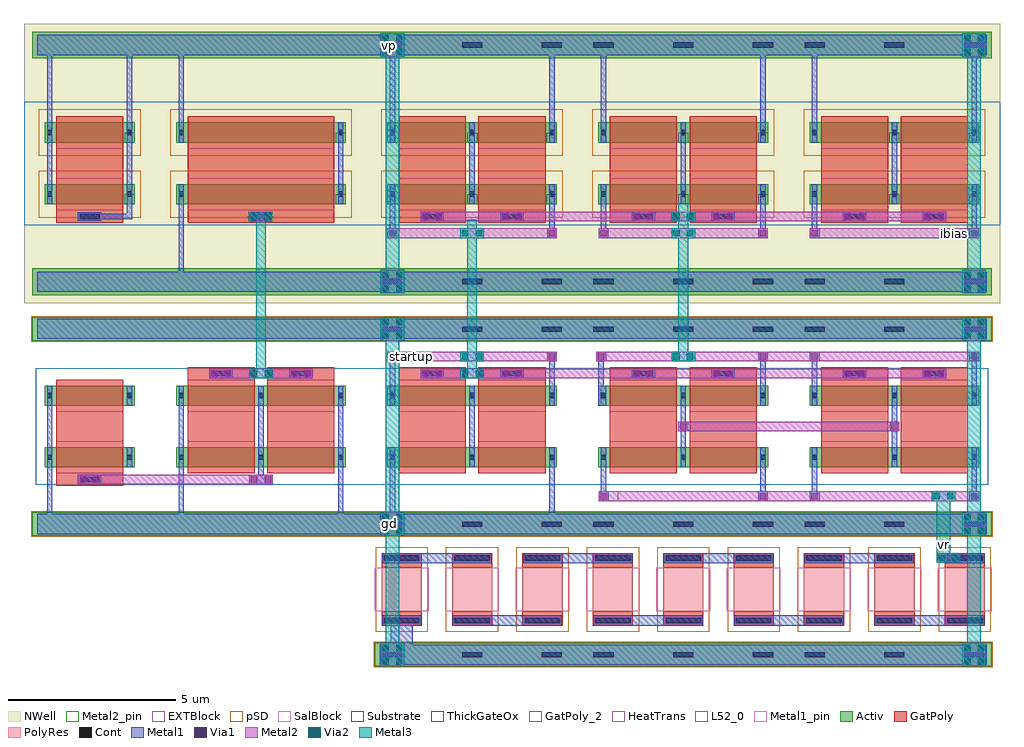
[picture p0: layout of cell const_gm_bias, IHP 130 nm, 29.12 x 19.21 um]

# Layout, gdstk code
import gdstk
lib = gdstk.Library(unit=1e-6, precision=1e-09)
def R(c, l, rs):  # rectangles x0, y0, x1, y1
    for r in rs: c.add(gdstk.rectangle(r[:2], r[2:], *l))
def A(c, l, x, y, w, h, nx, ny, dx, dy):  # array of equal rectangles
    R(c, l, [(x+i*dx, y+j*dy, x+i*dx+w, y+j*dy+h) for i in range(nx) for j in range(ny)])
Activ = (1, 0)
GatPoly = (5, 0)
GatPoly_2 = (5, 2)
Cont = (6, 0)
Metal1 = (8, 0)
Metal1_pin = (8, 2)
Metal2 = (10, 0)
Metal2_pin = (10, 2)
pSD = (14, 0)
Via1 = (19, 0)
SalBlock = (28, 0)
Via2 = (29, 0)
Metal3 = (30, 0)
NWell = (31, 0)
Substrate = (40, 0)
ThickGateOx = (44, 0)
HeatTrans = (51, 0)
L52_0 = (52, 0)
EXTBlock = (111, 0)
PolyRes = (128, 0)

nmoshv_6 = lib.new_cell('nmosHV$6')
R(nmoshv_6, Activ, [(0,0,0.3,0.3), (0,0,2.68,0.6), (2.38,0,2.68,0.3)])
R(nmoshv_6, GatPoly, [(0.34,-0.18,2.34,0.78)])
R(nmoshv_6, GatPoly_2, [(0.34,-0.18,2.34,0.78)])
R(nmoshv_6, Cont, [(0.07,0.22,0.23,0.38), (2.45,0.22,2.61,0.38)])
R(nmoshv_6, Metal1, [(0.07,0,0.23,0.6), (2.45,0,2.61,0.6)])
R(nmoshv_6, Metal1_pin, [(0.07,0,0.23,0.6), (2.45,0,2.61,0.6)])
R(nmoshv_6, ThickGateOx, [(-0.27,-0.52,2.95,1.12)])
R(nmoshv_6, HeatTrans, [(0.34,-0.18,2.34,0.78)])
nmoshv_6.add(gdstk.Label('nmosHV', (1.34,0.3), layer=63, texttype=0))
nmoshv_6.add(gdstk.Label('nmosHV', (1.34,0.3), layer=51, texttype=0))

via_stack = lib.new_cell('via_stack')
R(via_stack, Metal1, [(-0.35,-0.145,0.35,0.145)])
R(via_stack, Metal2, [(-0.35,-0.145,0.35,0.145)])
R(via_stack, Via1, [(-0.3,-0.095,-0.11,0.095), (0.11,-0.095,0.3,0.095)])

via_stack_1 = lib.new_cell('via_stack$1')
R(via_stack_1, Metal1, [(-0.145,-0.145,0.145,0.145)])
R(via_stack_1, Metal2, [(-0.145,-0.145,0.145,0.145)])
R(via_stack_1, Via1, [(-0.095,-0.095,0.095,0.095)])

via_stack_2 = lib.new_cell('via_stack$2')
R(via_stack_2, Metal2, [(-0.35,-0.145,0.35,0.145)])
R(via_stack_2, Via2, [(-0.3,-0.095,-0.11,0.095), (0.11,-0.095,0.3,0.095)])
R(via_stack_2, Metal3, [(-0.35,-0.145,0.35,0.145)])

via_stack_4 = lib.new_cell('via_stack$4')
R(via_stack_4, Metal1, [(-0.35,-0.35,0.35,0.35)])
R(via_stack_4, Metal2, [(-0.35,-0.35,0.35,0.35)])
R(via_stack_4, Via1, [(-0.3,-0.3,-0.11,-0.11), (0.11,-0.3,0.3,-0.11), (-0.3,0.11,-0.11,0.3), (0.11,0.11,0.3,0.3)])
R(via_stack_4, Via2, [(-0.3,-0.3,-0.11,-0.11), (0.11,-0.3,0.3,-0.11), (-0.3,0.11,-0.11,0.3), (0.11,0.11,0.3,0.3)])
R(via_stack_4, Metal3, [(-0.35,-0.35,0.35,0.35)])

pmoshv_6 = lib.new_cell('pmosHV$6')
R(pmoshv_6, Activ, [(0,0,0.3,0.3), (0,0,2.68,0.6), (2.38,0,2.68,0.3)])
R(pmoshv_6, GatPoly, [(0.34,-0.18,2.34,0.78)])
R(pmoshv_6, GatPoly_2, [(0.34,-0.18,2.34,0.78)])
R(pmoshv_6, Cont, [(0.07,0.22,0.23,0.38), (2.45,0.22,2.61,0.38)])
R(pmoshv_6, Metal1, [(0.07,0,0.23,0.6), (2.45,0,2.61,0.6)])
R(pmoshv_6, Metal1_pin, [(0.07,0,0.23,0.6), (2.45,0,2.61,0.6)])
R(pmoshv_6, pSD, [(-0.18,-0.4,2.86,1)])
R(pmoshv_6, NWell, [(-0.62,-0.62,3.3,1.22)])
R(pmoshv_6, Substrate, [(2.38,0,2.68,0.3)])
R(pmoshv_6, ThickGateOx, [(-0.62,-0.62,3.3,1.22)])
R(pmoshv_6, HeatTrans, [(0.34,-0.18,2.34,0.78)])
pmoshv_6.add(gdstk.Label('pmosHV', (1.34,0.3), layer=63, texttype=0))
pmoshv_6.add(gdstk.Label('pmos', (1.34,0.3), layer=51, texttype=0))

pmoshv_8 = lib.new_cell('pmosHV$8')
R(pmoshv_8, Activ, [(0,0,0.3,0.3), (0,0,5.06,0.6), (4.76,0,5.06,0.3)])
R(pmoshv_8, GatPoly, [(0.34,-0.18,4.72,0.78)])
R(pmoshv_8, GatPoly_2, [(0.34,-0.18,4.72,0.78)])
R(pmoshv_8, Cont, [(0.07,0.22,0.23,0.38), (4.83,0.22,4.99,0.38)])
R(pmoshv_8, Metal1, [(0.07,0,0.23,0.6), (4.83,0,4.99,0.6)])
R(pmoshv_8, Metal1_pin, [(0.07,0,0.23,0.6), (4.83,0,4.99,0.6)])
R(pmoshv_8, pSD, [(-0.18,-0.4,5.24,1)])
R(pmoshv_8, NWell, [(-0.62,-0.62,5.68,1.22)])
R(pmoshv_8, Substrate, [(4.76,0,5.06,0.3)])
R(pmoshv_8, ThickGateOx, [(-0.62,-0.62,5.68,1.22)])
R(pmoshv_8, HeatTrans, [(0.34,-0.18,4.72,0.78)])
pmoshv_8.add(gdstk.Label('pmosHV', (2.53,0.3), layer=63, texttype=0))
pmoshv_8.add(gdstk.Label('pmos', (2.53,0.3), layer=51, texttype=0))

via_stack_3 = lib.new_cell('via_stack$3')
R(via_stack_3, Metal1, [(-0.35,-0.145,0.35,0.145)])
R(via_stack_3, Metal2, [(-0.35,-0.145,0.35,0.145)])
R(via_stack_3, Via1, [(-0.3,-0.095,-0.11,0.095), (0.11,-0.095,0.3,0.095)])
R(via_stack_3, Via2, [(-0.3,-0.095,-0.11,0.095), (0.11,-0.095,0.3,0.095)])
R(via_stack_3, Metal3, [(-0.35,-0.145,0.35,0.145)])

const_gm_bias_core = lib.new_cell('const_gm_bias_core')
A(const_gm_bias_core, Cont, 0.47, -1.33, 0.6, 0.16, 3, 2, 2.38, 5.82)
A(const_gm_bias_core, Cont, 6.77, -1.33, 0.6, 0.16, 3, 2, 2.38, 5.82)
A(const_gm_bias_core, Cont, 13.07, -1.33, 0.6, 0.16, 3, 2, 2.38, 5.82)
A(const_gm_bias_core, Cont, 0.47, 5.91, 0.6, 0.16, 3, 2, 2.38, 7.06)
A(const_gm_bias_core, Cont, 6.77, 5.91, 0.6, 0.16, 3, 2, 2.38, 7.06)
A(const_gm_bias_core, Cont, 13.07, 5.91, 0.6, 0.16, 3, 2, 2.38, 7.06)
A(const_gm_bias_core, Cont, -8.56, 7.855, 0.6, 0.16, 3, 1, 5.11, 0)
R(const_gm_bias_core, Cont, [(-8.56,0.01,-7.96,0.17), (-4.64,3.17,-4.04,3.33), (-2.26,3.17,-1.66,3.33), (1.66,3.17,2.26,3.33), (4.04,3.17,4.64,3.33), (7.96,3.17,8.56,3.33), (10.34,3.17,10.94,3.33), (14.26,3.17,14.86,3.33), (16.64,3.17,17.24,3.33), (4.04,7.855,4.64,8.015), (7.96,7.855,8.56,8.015), (10.34,7.855,10.94,8.015), (14.26,7.855,14.86,8.015), (16.64,7.855,17.24,8.015)])
R(const_gm_bias_core, Metal1, [(-8.61,7.81,-7.91,8.06)])
R(const_gm_bias_core, Metal1_pin, [(0.39,-1.54,0.99,-0.94), (0.39,12.75,0.99,13.35)])
R(const_gm_bias_core, Metal2_pin, [(7.215,-0.56,7.505,-0.27), (17.695,7.29,17.985,7.58)])
R(const_gm_bias_core, NWell, [(-10.22,5.35,18.9,7.93), (-10.22,11.36,18.9,13.69)])
R(const_gm_bias_core, ThickGateOx, [(-9.87,-0.07,18.55,3.41)])
const_gm_bias_core.add(gdstk.FlexPath([(-9.83,13.05),(18.51,13.05)], 0.6, ends="flush", simple_path=True, layer=8, datatype=0))  # Metal1
const_gm_bias_core.add(gdstk.FlexPath([(-9.83,5.99),(18.51,5.99)], 0.6, ends="flush", simple_path=True, layer=8, datatype=0))  # Metal1
const_gm_bias_core.add(gdstk.FlexPath([(-9.83,4.58),(18.51,4.58)], 0.6, ends="flush", simple_path=True, layer=8, datatype=0))  # Metal1
const_gm_bias_core.add(gdstk.FlexPath([(-9.83,-1.24),(18.51,-1.24)], 0.6, ends="flush", simple_path=True, layer=8, datatype=0))  # Metal1
const_gm_bias_core.add(gdstk.FlexPath([(-0.77,8.3),(-0.77,10.74)], 0.16, ends="flush", simple_path=True, layer=8, datatype=0))  # Metal1
const_gm_bias_core.add(gdstk.FlexPath([(-5.53,8.9),(-5.53,5.69)], 0.16, ends="flush", simple_path=True, layer=8, datatype=0))  # Metal1
const_gm_bias_core.add(gdstk.FlexPath([(-5.53,10.14),(-5.53,13.35)], 0.16, ends="flush", simple_path=True, layer=8, datatype=0))  # Metal1
const_gm_bias_core.add(gdstk.FlexPath([(-7.07,8.3),(-7.07,13.35)], 0.16, ends="flush", simple_path=True, layer=8, datatype=0))  # Metal1
const_gm_bias_core.add(gdstk.FlexPath([(-9.45,8.3),(-9.45,13.35)], 0.16, ends="flush", simple_path=True, layer=8, datatype=0))  # Metal1
const_gm_bias_core.add(gdstk.FlexPath([(-8.56,7.935),(-7.07,7.935),(-7.07,8.3)], 0.16, ends="flush", simple_path=True, layer=8, datatype=0))  # Metal1
const_gm_bias_core.add(gdstk.FlexPath([(-3.15,-0.055),(-3.15,2.89)], 0.16, ends="flush", simple_path=True, layer=8, datatype=0))  # Metal1
const_gm_bias_core.add(gdstk.FlexPath([(-5.53,2.89),(-5.53,-1.54)], 0.16, ends="flush", simple_path=True, layer=8, datatype=0))  # Metal1
const_gm_bias_core.add(gdstk.FlexPath([(-0.77,2.89),(-0.77,-1.54)], 0.16, ends="flush", simple_path=True, layer=8, datatype=0))  # Metal1
const_gm_bias_core.add(gdstk.FlexPath([(-9.45,2.89),(-9.45,-1.54)], 0.16, ends="flush", simple_path=True, layer=8, datatype=0))  # Metal1
const_gm_bias_core.add(gdstk.FlexPath([(3.15,2.89),(3.15,0.45)], 0.16, ends="flush", simple_path=True, layer=8, datatype=0))  # Metal1
const_gm_bias_core.add(gdstk.FlexPath([(9.45,2.89),(9.45,0.45)], 0.16, ends="flush", simple_path=True, layer=8, datatype=0))  # Metal1
const_gm_bias_core.add(gdstk.FlexPath([(15.75,2.89),(15.75,0.45)], 0.16, ends="flush", simple_path=True, layer=8, datatype=0))  # Metal1
const_gm_bias_core.add(gdstk.FlexPath([(0.77,2.29),(0.77,3.9)], 0.16, ends="flush", simple_path=True, layer=8, datatype=0))  # Metal1
const_gm_bias_core.add(gdstk.FlexPath([(5.53,2.29),(5.53,3.9)], 0.16, ends="flush", simple_path=True, layer=8, datatype=0))  # Metal1
const_gm_bias_core.add(gdstk.FlexPath([(7,2.29),(7,3.9)], 0.16, ends="flush", simple_path=True, layer=8, datatype=0))  # Metal1
const_gm_bias_core.add(gdstk.FlexPath([(11.83,2.29),(11.83,3.9)], 0.16, ends="flush", simple_path=True, layer=8, datatype=0))  # Metal1
const_gm_bias_core.add(gdstk.FlexPath([(13.37,2.29),(13.37,3.9)], 0.16, ends="flush", simple_path=True, layer=8, datatype=0))  # Metal1
const_gm_bias_core.add(gdstk.FlexPath([(18.13,2.29),(18.13,3.9)], 0.16, ends="flush", simple_path=True, layer=8, datatype=0))  # Metal1
const_gm_bias_core.add(gdstk.FlexPath([(0.77,1.05),(0.77,-1.54)], 0.16, ends="flush", simple_path=True, layer=8, datatype=0))  # Metal1
const_gm_bias_core.add(gdstk.FlexPath([(5.53,1.05),(5.53,-1.54)], 0.16, ends="flush", simple_path=True, layer=8, datatype=0))  # Metal1
const_gm_bias_core.add(gdstk.FlexPath([(7.07,1.05),(7.07,-0.56)], 0.16, ends="flush", simple_path=True, layer=8, datatype=0))  # Metal1
const_gm_bias_core.add(gdstk.FlexPath([(11.83,1.05),(11.83,-0.56)], 0.16, ends="flush", simple_path=True, layer=8, datatype=0))  # Metal1
const_gm_bias_core.add(gdstk.FlexPath([(13.37,1.05),(13.37,-0.56)], 0.16, ends="flush", simple_path=True, layer=8, datatype=0))  # Metal1
const_gm_bias_core.add(gdstk.FlexPath([(18.13,1.05),(18.13,-0.56)], 0.16, ends="flush", simple_path=True, layer=8, datatype=0))  # Metal1
const_gm_bias_core.add(gdstk.FlexPath([(18.13,10.14),(18.13,13.4)], 0.16, ends="flush", simple_path=True, layer=8, datatype=0))  # Metal1
const_gm_bias_core.add(gdstk.FlexPath([(13.37,10.14),(13.37,13.35)], 0.16, ends="flush", simple_path=True, layer=8, datatype=0))  # Metal1
const_gm_bias_core.add(gdstk.FlexPath([(11.83,10.14),(11.83,13.35)], 0.16, ends="flush", simple_path=True, layer=8, datatype=0))  # Metal1
const_gm_bias_core.add(gdstk.FlexPath([(7.07,10.14),(7.07,13.35)], 0.16, ends="flush", simple_path=True, layer=8, datatype=0))  # Metal1
const_gm_bias_core.add(gdstk.FlexPath([(5.53,10.14),(5.53,13.35)], 0.16, ends="flush", simple_path=True, layer=8, datatype=0))  # Metal1
const_gm_bias_core.add(gdstk.FlexPath([(0.77,10.14),(0.77,13.4)], 0.16, ends="flush", simple_path=True, layer=8, datatype=0))  # Metal1
const_gm_bias_core.add(gdstk.FlexPath([(18.13,8.9),(18.13,7.29)], 0.16, ends="flush", simple_path=True, layer=8, datatype=0))  # Metal1
const_gm_bias_core.add(gdstk.FlexPath([(13.37,8.9),(13.37,7.29)], 0.16, ends="flush", simple_path=True, layer=8, datatype=0))  # Metal1
const_gm_bias_core.add(gdstk.FlexPath([(15.75,10.74),(15.75,8.3)], 0.16, ends="flush", simple_path=True, layer=8, datatype=0))  # Metal1
const_gm_bias_core.add(gdstk.FlexPath([(11.83,8.9),(11.83,7.29)], 0.16, ends="flush", simple_path=True, layer=8, datatype=0))  # Metal1
const_gm_bias_core.add(gdstk.FlexPath([(7.07,8.9),(7.07,7.29)], 0.16, ends="flush", simple_path=True, layer=8, datatype=0))  # Metal1
const_gm_bias_core.add(gdstk.FlexPath([(5.53,8.9),(5.53,7.29)], 0.16, ends="flush", simple_path=True, layer=8, datatype=0))  # Metal1
const_gm_bias_core.add(gdstk.FlexPath([(0.77,8.9),(0.77,7.29)], 0.16, ends="flush", simple_path=True, layer=8, datatype=0))  # Metal1
const_gm_bias_core.add(gdstk.FlexPath([(9.45,10.74),(9.45,8.3)], 0.16, ends="flush", simple_path=True, layer=8, datatype=0))  # Metal1
const_gm_bias_core.add(gdstk.FlexPath([(3.15,10.74),(3.15,8.3)], 0.16, ends="flush", simple_path=True, layer=8, datatype=0))  # Metal1
const_gm_bias_core.add(gdstk.FlexPath([(-9.98,13.05),(18.66,13.05)], 0.8, ends="flush", simple_path=True, layer=1, datatype=0))  # Activ
const_gm_bias_core.add(gdstk.FlexPath([(-9.98,5.99),(18.66,5.99)], 0.8, ends="flush", simple_path=True, layer=1, datatype=0))  # Activ
const_gm_bias_core.add(gdstk.FlexPath([(-9.98,4.58),(18.66,4.58)], 0.7, ends="flush", simple_path=True, layer=1, datatype=0))  # Activ
const_gm_bias_core.add(gdstk.FlexPath([(-9.98,-1.24),(18.66,-1.24)], 0.7, ends="flush", simple_path=True, layer=1, datatype=0))  # Activ
const_gm_bias_core.add(gdstk.FlexPath([(-8.26,10.92),(-8.26,7.75)], 2, ends="flush", simple_path=True, layer=5, datatype=0))  # GatPoly
const_gm_bias_core.add(gdstk.FlexPath([(-1.96,0.27),(-1.96,3.44)], 2, ends="flush", simple_path=True, layer=5, datatype=0))  # GatPoly
const_gm_bias_core.add(gdstk.FlexPath([(-4.34,0.27),(-4.34,3.44)], 2, ends="flush", simple_path=True, layer=5, datatype=0))  # GatPoly
const_gm_bias_core.add(gdstk.FlexPath([(-8.26,3.07),(-8.26,-0.1)], 2, ends="flush", simple_path=True, layer=5, datatype=0))  # GatPoly
const_gm_bias_core.add(gdstk.FlexPath([(-3.15,10.92),(-3.15,7.75)], 4.38, ends="flush", simple_path=True, layer=5, datatype=0))  # GatPoly
const_gm_bias_core.add(gdstk.FlexPath([(16.94,0.27),(16.94,3.44)], 2, ends="flush", simple_path=True, layer=5, datatype=0))  # GatPoly
const_gm_bias_core.add(gdstk.FlexPath([(14.56,0.27),(14.56,3.44)], 2, ends="flush", simple_path=True, layer=5, datatype=0))  # GatPoly
const_gm_bias_core.add(gdstk.FlexPath([(10.64,0.27),(10.64,3.44)], 2, ends="flush", simple_path=True, layer=5, datatype=0))  # GatPoly
const_gm_bias_core.add(gdstk.FlexPath([(8.26,0.27),(8.26,3.44)], 2, ends="flush", simple_path=True, layer=5, datatype=0))  # GatPoly
const_gm_bias_core.add(gdstk.FlexPath([(4.34,0.27),(4.34,3.44)], 2, ends="flush", simple_path=True, layer=5, datatype=0))  # GatPoly
const_gm_bias_core.add(gdstk.FlexPath([(1.96,0.27),(1.96,3.44)], 2, ends="flush", simple_path=True, layer=5, datatype=0))  # GatPoly
const_gm_bias_core.add(gdstk.FlexPath([(1.96,10.92),(1.96,7.75)], 2, ends="flush", simple_path=True, layer=5, datatype=0))  # GatPoly
const_gm_bias_core.add(gdstk.FlexPath([(4.34,10.92),(4.34,7.75)], 2, ends="flush", simple_path=True, layer=5, datatype=0))  # GatPoly
const_gm_bias_core.add(gdstk.FlexPath([(8.26,10.92),(8.26,7.75)], 2, ends="flush", simple_path=True, layer=5, datatype=0))  # GatPoly
const_gm_bias_core.add(gdstk.FlexPath([(10.64,10.92),(10.64,7.75)], 2, ends="flush", simple_path=True, layer=5, datatype=0))  # GatPoly
const_gm_bias_core.add(gdstk.FlexPath([(14.56,10.92),(14.56,7.75)], 2, ends="flush", simple_path=True, layer=5, datatype=0))  # GatPoly
const_gm_bias_core.add(gdstk.FlexPath([(16.94,10.92),(16.94,7.75)], 2, ends="flush", simple_path=True, layer=5, datatype=0))  # GatPoly
const_gm_bias_core.add(gdstk.FlexPath([(-10.01,4.58),(18.69,4.58)], 0.76, ends="flush", simple_path=True, layer=14, datatype=0))  # pSD
const_gm_bias_core.add(gdstk.FlexPath([(-10.01,-1.24),(18.69,-1.24)], 0.76, ends="flush", simple_path=True, layer=14, datatype=0))  # pSD
const_gm_bias_core.add(gdstk.FlexPath([(-8.61,0.09),(-2.8,0.09)], 0.29, ends="flush", simple_path=True, layer=10, datatype=0))  # Metal2
const_gm_bias_core.add(gdstk.FlexPath([(-4.69,3.25),(-1.61,3.25)], 0.29, ends="flush", simple_path=True, layer=10, datatype=0))  # Metal2
const_gm_bias_core.add(gdstk.FlexPath([(1.61,3.25),(17.29,3.25)], 0.29, ends="flush", simple_path=True, layer=10, datatype=0))  # Metal2
const_gm_bias_core.add(gdstk.FlexPath([(0.625,3.755),(5.675,3.755)], 0.29, ends="flush", simple_path=True, layer=10, datatype=0))  # Metal2
const_gm_bias_core.add(gdstk.FlexPath([(6.855,3.755),(18.275,3.755)], 0.29, ends="flush", simple_path=True, layer=10, datatype=0))  # Metal2
const_gm_bias_core.add(gdstk.FlexPath([(6.925,-0.415),(18.275,-0.415)], 0.29, ends="flush", simple_path=True, layer=10, datatype=0))  # Metal2
const_gm_bias_core.add(gdstk.FlexPath([(15.895,1.67),(9.305,1.67)], 0.29, ends="flush", simple_path=True, layer=10, datatype=0))  # Metal2
const_gm_bias_core.add(gdstk.FlexPath([(13.225,7.435),(18.275,7.435)], 0.29, ends="flush", simple_path=True, layer=10, datatype=0))  # Metal2
const_gm_bias_core.add(gdstk.FlexPath([(6.925,7.435),(11.975,7.435)], 0.29, ends="flush", simple_path=True, layer=10, datatype=0))  # Metal2
const_gm_bias_core.add(gdstk.FlexPath([(0.625,7.435),(5.675,7.435)], 0.29, ends="flush", simple_path=True, layer=10, datatype=0))  # Metal2
const_gm_bias_core.add(gdstk.FlexPath([(1.61,7.935),(17.29,7.935)], 0.29, ends="flush", simple_path=True, layer=10, datatype=0))  # Metal2
const_gm_bias_core.add(gdstk.FlexPath([(-3.15,3.105),(-3.15,8.08)], 0.29, ends="flush", simple_path=True, layer=30, datatype=0))  # Metal3
const_gm_bias_core.add(gdstk.FlexPath([(3.15,3.105),(3.15,7.83)], 0.29, ends="flush", simple_path=True, layer=30, datatype=0))  # Metal3
const_gm_bias_core.add(gdstk.FlexPath([(9.45,3.61),(9.45,8.33)], 0.29, ends="flush", simple_path=True, layer=30, datatype=0))  # Metal3
const_gm_bias_core.add(gdstk.FlexPath([(0.77,-1.59),(0.77,4.93)], 0.4, ends="flush", simple_path=True, layer=30, datatype=0))  # Metal3
const_gm_bias_core.add(gdstk.FlexPath([(18.13,-1.59),(18.13,4.93)], 0.4, ends="flush", simple_path=True, layer=30, datatype=0))  # Metal3
const_gm_bias_core.add(gdstk.FlexPath([(0.77,5.64),(0.77,13.4)], 0.4, ends="flush", simple_path=True, layer=30, datatype=0))  # Metal3
const_gm_bias_core.add(gdstk.FlexPath([(18.13,5.64),(18.13,13.4)], 0.4, ends="flush", simple_path=True, layer=30, datatype=0))  # Metal3
const_gm_bias_core.add(gdstk.Reference(nmoshv_6, (0.62,2.29)))
const_gm_bias_core.add(gdstk.Reference(nmoshv_6, (6.92,2.29)))
const_gm_bias_core.add(gdstk.Reference(nmoshv_6, (6.92,0.45)))
const_gm_bias_core.add(gdstk.Reference(nmoshv_6, (9.3,2.29)))
const_gm_bias_core.add(gdstk.Reference(nmoshv_6, (9.3,0.45)))
const_gm_bias_core.add(gdstk.Reference(nmoshv_6, (13.22,2.29)))
const_gm_bias_core.add(gdstk.Reference(nmoshv_6, (13.22,0.45)))
const_gm_bias_core.add(gdstk.Reference(nmoshv_6, (15.6,2.29)))
const_gm_bias_core.add(gdstk.Reference(nmoshv_6, (15.6,0.45)))
const_gm_bias_core.add(gdstk.Reference(via_stack, (16.94,3.25)))
const_gm_bias_core.add(gdstk.Reference(via_stack, (14.56,3.25)))
const_gm_bias_core.add(gdstk.Reference(via_stack, (10.64,3.25)))
const_gm_bias_core.add(gdstk.Reference(via_stack, (8.26,3.25)))
const_gm_bias_core.add(gdstk.Reference(via_stack, (4.34,3.25)))
const_gm_bias_core.add(gdstk.Reference(via_stack, (1.96,3.25)))
const_gm_bias_core.add(gdstk.Reference(via_stack_1, (5.53,3.755)))
const_gm_bias_core.add(gdstk.Reference(via_stack_1, (7,3.755)))
const_gm_bias_core.add(gdstk.Reference(via_stack_1, (11.83,3.755)))
const_gm_bias_core.add(gdstk.Reference(via_stack_1, (13.37,3.755)))
const_gm_bias_core.add(gdstk.Reference(via_stack_1, (18.13,3.755)))
const_gm_bias_core.add(gdstk.Reference(via_stack_2, (3.15,3.755)))
const_gm_bias_core.add(gdstk.Reference(via_stack_2, (9.45,3.755)))
const_gm_bias_core.add(gdstk.Reference(via_stack_2, (3.15,3.25)))
const_gm_bias_core.add(gdstk.Reference(via_stack_4, (0.77,4.58)))
const_gm_bias_core.add(gdstk.Reference(via_stack_4, (0.77,-1.24)))
const_gm_bias_core.add(gdstk.Reference(via_stack_4, (18.13,4.58)))
const_gm_bias_core.add(gdstk.Reference(via_stack_4, (18.13,-1.24)))
const_gm_bias_core.add(gdstk.Reference(via_stack_4, (0.77,5.99)))
const_gm_bias_core.add(gdstk.Reference(via_stack_4, (18.13,5.99)))
const_gm_bias_core.add(gdstk.Reference(via_stack_1, (9.45,1.67)))
const_gm_bias_core.add(gdstk.Reference(via_stack_1, (15.75,1.67)))
const_gm_bias_core.add(gdstk.Reference(via_stack_1, (7.07,-0.415)))
const_gm_bias_core.add(gdstk.Reference(via_stack_1, (11.83,-0.415)))
const_gm_bias_core.add(gdstk.Reference(via_stack_1, (13.37,-0.415)))
const_gm_bias_core.add(gdstk.Reference(via_stack_1, (18.13,-0.415)))
const_gm_bias_core.add(gdstk.Reference(via_stack_4, (0.77,13.05)))
const_gm_bias_core.add(gdstk.Reference(via_stack_4, (18.13,13.05)))
const_gm_bias_core.add(gdstk.Reference(via_stack_2, (9.45,7.935)))
const_gm_bias_core.add(gdstk.Reference(via_stack_2, (9.45,7.435)))
const_gm_bias_core.add(gdstk.Reference(via_stack_2, (3.15,7.435)))
const_gm_bias_core.add(gdstk.Reference(via_stack_1, (18.13,7.435)))
const_gm_bias_core.add(gdstk.Reference(via_stack_1, (13.37,7.435)))
const_gm_bias_core.add(gdstk.Reference(via_stack_1, (11.83,7.435)))
const_gm_bias_core.add(gdstk.Reference(via_stack_1, (7.07,7.435)))
const_gm_bias_core.add(gdstk.Reference(via_stack_1, (5.53,7.435)))
const_gm_bias_core.add(gdstk.Reference(via_stack_1, (0.77,7.435)))
const_gm_bias_core.add(gdstk.Reference(via_stack, (1.96,7.935), x_reflection=True))
const_gm_bias_core.add(gdstk.Reference(via_stack, (4.34,7.935), x_reflection=True))
const_gm_bias_core.add(gdstk.Reference(via_stack, (8.26,7.935), x_reflection=True))
const_gm_bias_core.add(gdstk.Reference(via_stack, (10.64,7.935), x_reflection=True))
const_gm_bias_core.add(gdstk.Reference(via_stack, (14.56,7.935), x_reflection=True))
const_gm_bias_core.add(gdstk.Reference(via_stack, (16.94,7.935), x_reflection=True))
const_gm_bias_core.add(gdstk.Reference(pmoshv_6, (15.6,8.3)))
const_gm_bias_core.add(gdstk.Reference(pmoshv_6, (15.6,10.14)))
const_gm_bias_core.add(gdstk.Reference(pmoshv_6, (13.22,8.3)))
const_gm_bias_core.add(gdstk.Reference(pmoshv_6, (13.22,10.14)))
const_gm_bias_core.add(gdstk.Reference(pmoshv_6, (9.3,8.3)))
const_gm_bias_core.add(gdstk.Reference(pmoshv_6, (9.3,10.14)))
const_gm_bias_core.add(gdstk.Reference(pmoshv_6, (6.92,8.3)))
const_gm_bias_core.add(gdstk.Reference(pmoshv_6, (6.92,10.14)))
const_gm_bias_core.add(gdstk.Reference(pmoshv_6, (3,8.3)))
const_gm_bias_core.add(gdstk.Reference(pmoshv_6, (3,10.14)))
const_gm_bias_core.add(gdstk.Reference(pmoshv_6, (0.62,8.3)))
const_gm_bias_core.add(gdstk.Reference(pmoshv_6, (0.62,10.14)))
const_gm_bias_core.add(gdstk.Reference(via_stack_1, (0.77,3.755)))
const_gm_bias_core.add(gdstk.Reference(pmoshv_8, (-5.68,8.3)))
const_gm_bias_core.add(gdstk.Reference(nmoshv_6, (0.62,0.45)))
const_gm_bias_core.add(gdstk.Reference(nmoshv_6, (3,0.45)))
const_gm_bias_core.add(gdstk.Reference(nmoshv_6, (3,2.29)))
const_gm_bias_core.add(gdstk.Reference(nmoshv_6, (-5.68,2.29)))
const_gm_bias_core.add(gdstk.Reference(nmoshv_6, (-5.68,0.45)))
const_gm_bias_core.add(gdstk.Reference(nmoshv_6, (-3.3,0.45)))
const_gm_bias_core.add(gdstk.Reference(nmoshv_6, (-3.3,2.29)))
const_gm_bias_core.add(gdstk.Reference(nmoshv_6, (-9.6,2.29)))
const_gm_bias_core.add(gdstk.Reference(nmoshv_6, (-9.6,0.45)))
const_gm_bias_core.add(gdstk.Reference(pmoshv_6, (-9.6,8.3)))
const_gm_bias_core.add(gdstk.Reference(pmoshv_6, (-9.6,10.14)))
const_gm_bias_core.add(gdstk.Reference(via_stack, (-1.96,3.25)))
const_gm_bias_core.add(gdstk.Reference(via_stack, (-4.34,3.25)))
const_gm_bias_core.add(gdstk.Reference(via_stack, (-8.26,0.09), x_reflection=True))
const_gm_bias_core.add(gdstk.Reference(via_stack, (-3.15,0.09), x_reflection=True))
const_gm_bias_core.add(gdstk.Reference(pmoshv_8, (-5.68,10.14)))
const_gm_bias_core.add(gdstk.Reference(via_stack_3, (-3.16,7.935)))
const_gm_bias_core.add(gdstk.Reference(via_stack_2, (-3.15,3.25)))
const_gm_bias_core.add(gdstk.Label('res', (7.36,-0.415), layer=10, texttype=25))
const_gm_bias_core.add(gdstk.Label('ibias', (17.84,7.435), layer=10, texttype=25))
const_gm_bias_core.add(gdstk.Label('gd', (0.69,-1.24), layer=8, texttype=25))
const_gm_bias_core.add(gdstk.Label('vp', (0.69,13.05), layer=8, texttype=25))

rppd_11 = lib.new_cell('rppd$11')
A(rppd_11, GatPoly, 0, -0.43, 1.2, 0.23, 9, 2, 2.1, 1.93)
A(rppd_11, GatPoly, 0, -0.2, 1.2, 0.2, 9, 2, 2.1, 1.5)
A(rppd_11, Cont, 0.07, -0.36, 1.06, 0.16, 9, 2, 2.1, 1.86)
A(rppd_11, Metal1, 0.02, -0.43, 1.16, 0.3, 9, 2, 2.1, 1.86)
A(rppd_11, Metal1, 2.12, -0.43, 3.26, 0.3, 4, 1, 4.2, 0)
A(rppd_11, Metal1, 0.02, 1.43, 3.26, 0.3, 4, 1, 4.2, 0)
A(rppd_11, Metal1_pin, 0.02, -0.43, 1.16, 0.3, 9, 2, 2.1, 1.86)
A(rppd_11, pSD, -0.18, -0.61, 1.56, 0.61, 9, 2, 2.1, 1.91)
A(rppd_11, pSD, -0.18, 0, 1.56, 1.3, 9, 1, 2.1, 0)
A(rppd_11, SalBlock, -0.2, 0, 1.6, 1.3, 9, 1, 2.1, 0)
A(rppd_11, L52_0, 0, 0, 1.2, 1.3, 9, 1, 2.1, 0)
A(rppd_11, EXTBlock, -0.18, -0.61, 1.56, 0.61, 9, 2, 2.1, 1.91)
A(rppd_11, EXTBlock, -0.2, 0, 1.6, 1.3, 9, 1, 2.1, 0)
A(rppd_11, PolyRes, 0, 0, 1.2, 1.3, 9, 1, 2.1, 0)
rppd_11.add(gdstk.Label('rppd r=338.599', (0.6,0.65), layer=63, texttype=0))
rppd_11.add(gdstk.Label('rppd r=338.599', (0.6,0.65), layer=63, texttype=0))
rppd_11.add(gdstk.Label('rppd r=338.599', (0.6,0.65), layer=63, texttype=0))
rppd_11.add(gdstk.Label('rppd r=338.599', (0.6,0.65), layer=63, texttype=0))
rppd_11.add(gdstk.Label('rppd r=338.599', (0.6,0.65), layer=63, texttype=0))
rppd_11.add(gdstk.Label('rppd r=338.599', (0.6,0.65), layer=63, texttype=0))
rppd_11.add(gdstk.Label('rppd r=338.599', (0.6,0.65), layer=63, texttype=0))
rppd_11.add(gdstk.Label('rppd r=338.599', (0.6,0.65), layer=63, texttype=0))
rppd_11.add(gdstk.Label('rppd r=338.599', (0.6,0.65), layer=63, texttype=0))
rppd_11.add(gdstk.Label('rppd', (0.6,0.65), layer=52, texttype=0))
rppd_11.add(gdstk.Label('rppd', (2.7,0.65), layer=52, texttype=0))
rppd_11.add(gdstk.Label('rppd', (4.8,0.65), layer=52, texttype=0))
rppd_11.add(gdstk.Label('rppd', (6.9,0.65), layer=52, texttype=0))
rppd_11.add(gdstk.Label('rppd', (9,0.65), layer=52, texttype=0))
rppd_11.add(gdstk.Label('rppd', (11.1,0.65), layer=52, texttype=0))
rppd_11.add(gdstk.Label('rppd', (13.2,0.65), layer=52, texttype=0))
rppd_11.add(gdstk.Label('rppd', (15.3,0.65), layer=52, texttype=0))
rppd_11.add(gdstk.Label('rppd', (17.4,0.65), layer=52, texttype=0))

const_gm_bias = lib.new_cell('const_gm_bias')
R(const_gm_bias, Activ, [(0.24,0.03,18.66,0.73)])
A(const_gm_bias, Cont, 0.47, 0.3, 0.6, 0.16, 3, 1, 2.38, 0)
A(const_gm_bias, Cont, 6.77, 0.3, 0.6, 0.16, 3, 1, 2.38, 0)
A(const_gm_bias, Cont, 13.07, 0.3, 0.6, 0.16, 3, 1, 2.38, 0)
R(const_gm_bias, Metal1, [(0.39,0.08,18.51,0.68)])
R(const_gm_bias, Metal1_pin, [(0.39,3.98,0.99,4.58), (0.39,18.27,0.99,18.87)])
R(const_gm_bias, Metal2_pin, [(1.205,9.13,1.495,9.42), (17.405,12.81,17.695,13.1)])
R(const_gm_bias, pSD, [(0.21,0,18.69,0.76)])
const_gm_bias.add(gdstk.FlexPath([(1.05,1.55),(1.05,0.08)], 0.66, ends="flush", simple_path=True, layer=8, datatype=0))  # Metal1
const_gm_bias.add(gdstk.FlexPath([(17.21,5.255),(17.21,3.12)], 0.4, ends="flush", simple_path=True, layer=30, datatype=0))  # Metal3
const_gm_bias.add(gdstk.FlexPath([(0.77,0.03),(0.77,4.63)], 0.4, ends="flush", simple_path=True, layer=30, datatype=0))  # Metal3
const_gm_bias.add(gdstk.FlexPath([(18.13,4.63),(18.13,0.03)], 0.4, ends="flush", simple_path=True, layer=30, datatype=0))  # Metal3
const_gm_bias.add(gdstk.Reference(const_gm_bias_core, (0,5.52)))
const_gm_bias.add(gdstk.Reference(rppd_11, (0.45,1.68)))
const_gm_bias.add(gdstk.Reference(via_stack_4, (0.77,0.38)))
const_gm_bias.add(gdstk.Reference(via_stack_4, (18.13,0.38)))
const_gm_bias.add(gdstk.Reference(via_stack_3, (17.36,3.265)))
const_gm_bias.add(gdstk.Reference(via_stack_2, (17.21,5.11)))
const_gm_bias.add(gdstk.Label('startup', (1.35,9.275), layer=10, texttype=25))
const_gm_bias.add(gdstk.Label('ibias', (17.55,12.955), layer=10, texttype=25))
const_gm_bias.add(gdstk.Label('vp', (0.69,18.57), layer=8, texttype=25))
const_gm_bias.add(gdstk.Label('gd', (0.69,4.28), layer=8, texttype=25))
const_gm_bias.add(gdstk.Label('vr', (17.21,3.67), layer=30, texttype=25))

lib.write_gds('const_gm_bias.gds')
